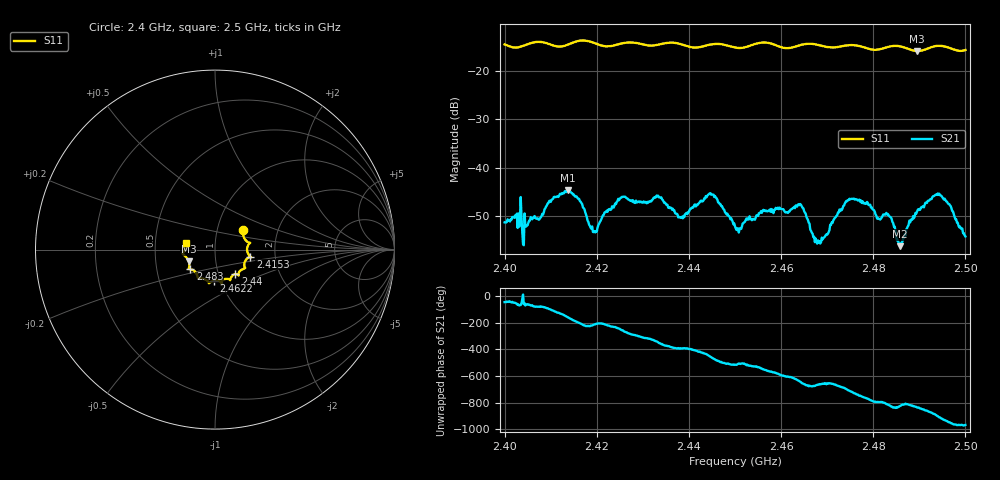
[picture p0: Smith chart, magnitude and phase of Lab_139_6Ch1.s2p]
# Hz S RI R 50
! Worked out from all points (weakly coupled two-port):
!   601 points, 2.4 GHz to 2.5 GHz, reference 50 ohm
!   highest |S21| = -44.54 dB at 2.4137 GHz (marker M1); lowest = -56.2 dB at 2.4858 GHz (marker M2)
!   lowest |S11| = -15.9 dB at 2.4895 GHz (marker M3), VSWR 1.38, Z = 36.9 - j5 ohm
!   |S11| at or under -10 dB: start of sweep to end of sweep
!   S12 and S22 are empty: the file has one direction only
!   S11 on the Smith chart (normalised r, x): 2.4 GHz: 1.33, +0.29; 2.4153 GHz: 1.48, -0.12; 2.44 GHz: 1.20, -0.34; 2.4622 GHz: 0.93, -0.33; 2.483 GHz: 0.74, -0.17; 2.5 GHz: 0.72, +0.06
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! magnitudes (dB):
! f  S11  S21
! 2.4 GHz  -14.5  -51.2
! 2.4043 GHz  -14.7  -49.4
! 2.4137 GHz  -14.6  -44.5
! 2.4153 GHz  -14.0  -45.9
! 2.4167 GHz  -13.7  -47.2
! 2.4197 GHz  -14.3  -53.3
! 2.4252 GHz  -14.4  -46.2
! 2.4333 GHz  -14.6  -45.8
! 2.44 GHz  -15.0  -49.1
! 2.4448 GHz  -14.5  -45.5
! 2.45 GHz  -15.1  -52.1
! 2.4622 GHz  -15.2  -48.6
! 2.4643 GHz  -14.6  -47.7
! 2.4667 GHz  -14.4  -53.4
! 2.4687 GHz  -14.8  -55.4
! 2.4753 GHz  -14.7  -46.4
! 2.483 GHz  -15.1  -49.6
! 2.4833 GHz  -15.0  -49.8
! 2.4858 GHz  -14.9  -56.2
! 2.4895 GHz  -15.9  -49.1
! 2.4945 GHz  -14.8  -45.7
! 2.5 GHz  -15.7  -54.2
